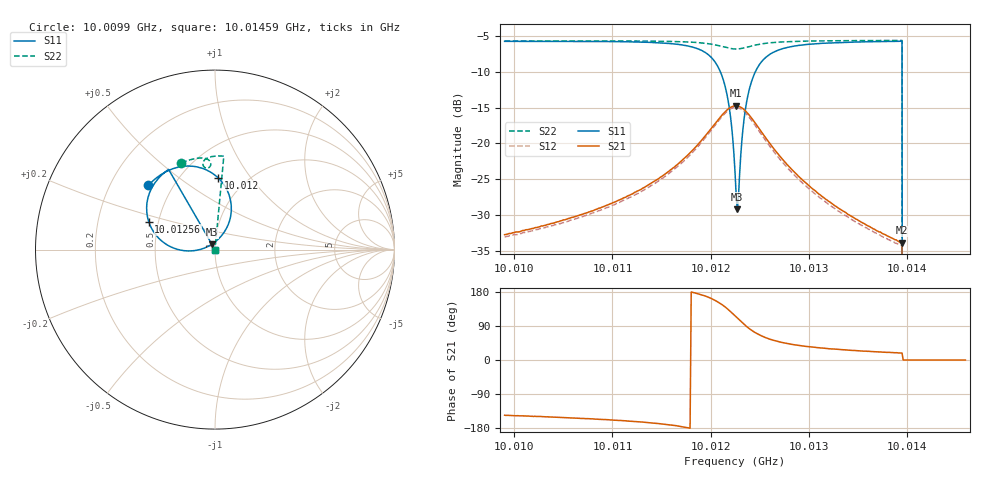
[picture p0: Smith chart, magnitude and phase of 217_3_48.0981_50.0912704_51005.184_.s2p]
#  HZ  S  RI  R  50.00
! Rohde & Schwarz Vector Network Analyzer
! Rohde-Schwarz,ZNB20-2Port,1311601062101988,3.16
! Created: UTC 12/23/2023, 3:56:23 AM
! freq[Hz]  re:S11  im:S11  re:S21  im:S21  re:S12  im:S12  re:S22  im:S22
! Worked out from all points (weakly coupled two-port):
!   401 points, 10.0099 GHz to 10.01459 GHz, reference 50 ohm
!   highest |S21| = -14.76 dB at 10.01226 GHz (marker M1); lowest = -33.9 dB at 10.01395 GHz (marker M2)
!   lowest |S11| = -29.3 dB at 10.01227 GHz (marker M3), VSWR 1.07, Z = 48.2 + j2.87 ohm
!   |S11| at or under -10 dB: 10.0121 GHz to 10.01246 GHz (356.8 kHz wide, 0.00356 % of centre); 10.01395 GHz to end of sweep
!   |S22| runs from - to -5.6 dB; largest |S21 - S12| = 0.0088
!   S11 on the Smith chart (normalised r, x): 10.0099 GHz: 0.37, +0.36; 10.012 GHz: 0.74, +0.71; 10.01256 GHz: 0.44, +0.16; 10.01459 GHz: 1.00, +0.00
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1.0009901e10  -0.3714 0.358  -0.019 -0.013  -0.0177 -0.0132  -0.1879 0.4833
1.0010687e10  -0.3156 0.4073  -0.0286 -0.0139  -0.0269 -0.0146  -0.1377 0.5006
1.0011474e10  -0.2102 0.458  -0.0556 -0.012  -0.0528 -0.0145  -0.0801 0.5103
1.0011814e10  -0.098 0.4601  -0.0891 0.00211  -0.086 -0.00283  -0.0484 0.5063
1.0012002e10  0.016 0.4011  -0.1202 0.037  -0.1186 0.0299  -0.0291 0.4929
1.0012095e10  0.0761 0.3108  -0.1307 0.0769  -0.1312 0.0683  -0.0235 0.4785
1.0012166e10  0.0894 0.2009  -0.123 0.1183  -0.1254 0.1102  -0.0262 0.465
1.0012213e10  0.0631 0.117  -0.1034 0.1469  -0.1072 0.1392  -0.0332 0.4575
1.0012248e10  0.0204 0.0599  -0.0815 0.1635  -0.0858 0.1563  -0.0408 0.4542
1.001226e10  0.00222 0.0437  -0.0731 0.1675  -0.0775 0.1604  -0.0436 0.4539
1.0012271e10  -0.0174 0.0298  -0.0644 0.1706  -0.069 0.1638  -0.0462 0.4538
1.0012295e10  -0.06 0.008  -0.0468 0.174  -0.0511 0.1678  -0.0515 0.4549
1.0012342e10  -0.1505 -0.00758  -0.0114 0.1712  -0.0158 0.1654  -0.0604 0.4604
1.0012389e10  -0.2306 0.00852  0.0175 0.1577  0.0114 0.1526  -0.0657 0.4686
1.0012459e10  -0.3139 0.0637  0.0434 0.1298  0.0376 0.1259  -0.0671 0.4815
1.0012565e10  -0.3691 0.1548  0.0565 0.0922  0.0506 0.09  -0.0607 0.4964
1.0013034e10  -0.3486 0.3504  0.04 0.0271  0.0368 0.0275  -0.0183 0.5182
1.001382e10  -0.2698 0.4388  0.0208 0.0076  0.0194 0.00833  0.0404 0.5213
1.0013926e10  -0.2607 0.4453  0.0192 0.00645  0.018 0.00729  0.0475 0.521
1.001395e10  -0.2588 0.4469  0.0192 0.00635  0.0177 0.00704  0.0492 0.5209
1.0013985e10  0 0  0 0  0 0  0 0
1.0014595e10  0 0  0 0  0 0  0 0
